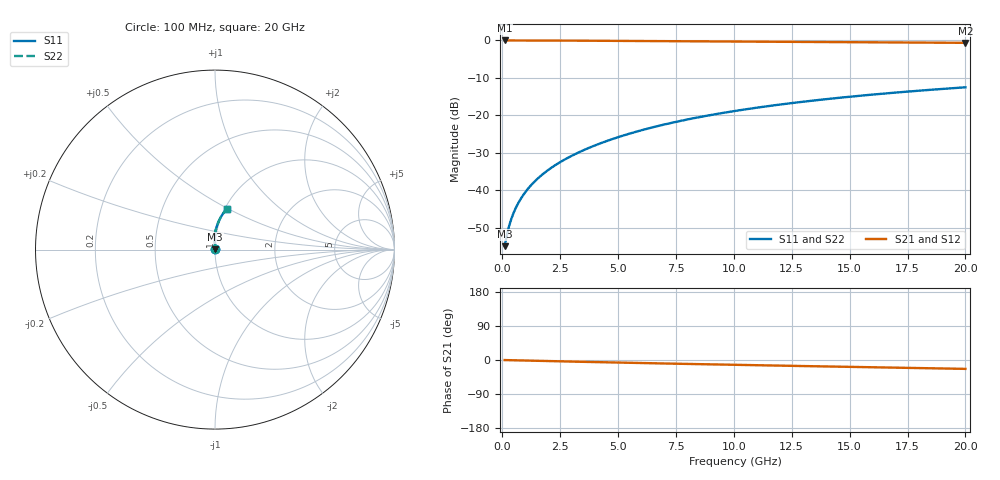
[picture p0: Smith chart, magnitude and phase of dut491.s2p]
! Touchstone file exported from HFSS 2024.1.0
!  File:  C:/UserFiles/LocalFiles/RDL_TSV_Batchsim/temp_RDL_bottom_491_1779686822.aedt
!  Generated:  01:29:26 PM May 25, 2026
!  Design:  RDL_bottom
!  Project:  temp_RDL_bottom_491_1779686822
!  Setup:  Setup1
!  Solution:  Sweep
! Variables:
!  dtsv = 10.80580581um
!  hbump = 3um
!  htsv = 70.12um
!  ldown = 294.18um
!  lrdl = 100um
!  p = 40
!  p1 = 59.56um
!  rhole = 1um
!  t = 450um
!  tdown = 3.05um
!  trdl = 3.915915916um
!  wdown = 28.99um
!  wrdl = 20um
# GHz S MA R 50.000000
! Terminal data exported
! Port[1] = RDL1_T1
! Port[2] = RDL1_T2
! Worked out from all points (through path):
!   200 points, 100 MHz to 20 GHz, reference 50 ohm
!   highest |S21| = -0.01 dB at 100 MHz (marker M1); lowest = -0.6 dB at 20 GHz (marker M2)
!   group delay of S21, straight-line fit = 3.2 ps
!   lowest |S11| = -54.9 dB at 100 MHz (marker M3), VSWR 1.00, Z = 50.1 + j0.104 ohm
!   |S11| at or under -10 dB: start of sweep to end of sweep
!   |S22| runs from -54.9 to -12.5 dB; largest |S21 - S12| = 3e-15
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0.1  0.0018 35.2  0.9985 -0.1  0.9985 -0.1  0.0018 35.2
! Gamma 0 0 0 0
! Port Impedance 50 0 50 0
0.2  0.002553 52.9  0.9984 -0.3  0.9984 -0.3  0.002553 52.9
0.3  0.003395 61.7  0.9983 -0.4  0.9983 -0.4  0.003395 61.7
0.4  0.00425 67.0  0.9982 -0.6  0.9982 -0.6  0.00425 67.0
0.5  0.005109 70.7  0.9981 -0.7  0.9981 -0.7  0.005109 70.7
0.6  0.005973 73.5  0.998 -0.9  0.998 -0.9  0.005973 73.5
0.8  0.007724 77.5  0.9977 -1.1  0.9977 -1.1  0.007724 77.5
1.1  0.01041 81.4  0.9973 -1.6  0.9973 -1.6  0.01041 81.4
1.3  0.01224 83.2  0.997 -1.8  0.997 -1.8  0.01224 83.2
1.6  0.01503 85.2  0.9965 -2.3  0.9965 -2.3  0.01503 85.2
2.1  0.01983 87.6  0.9955 -3.0  0.9955 -3.0  0.01983 87.6
2.7  0.02583 89.4  0.9939 -3.8  0.9939 -3.8  0.02583 89.4
3.5  0.03424 90.8  0.9914 -4.8  0.9914 -4.8  0.03424 90.8
4.2  0.04197 91.4  0.9889 -5.8  0.9889 -5.8  0.04197 91.4
5  0.0512 91.6  0.9859 -6.8  0.9859 -6.8  0.05119 91.6
5.9  0.06198 91.4  0.9823 -7.9  0.9823 -7.9  0.06198 91.4
6.8  0.0731 90.8  0.9786 -9.0  0.9786 -9.0  0.07309 90.8
8.4  0.09337 89.2  0.9722 -10.9  0.9722 -10.9  0.09336 89.2
10.1  0.1152 87.1  0.9655 -12.8  0.9655 -12.8  0.1152 87.1
13.4  0.1573 82.7  0.953 -16.4  0.953 -16.4  0.1573 82.7
16.7  0.198 78.3  0.9407 -20.0  0.9407 -20.0  0.198 78.3
20  0.2369 74.0  0.9282 -23.4  0.9282 -23.4  0.2368 74.0
